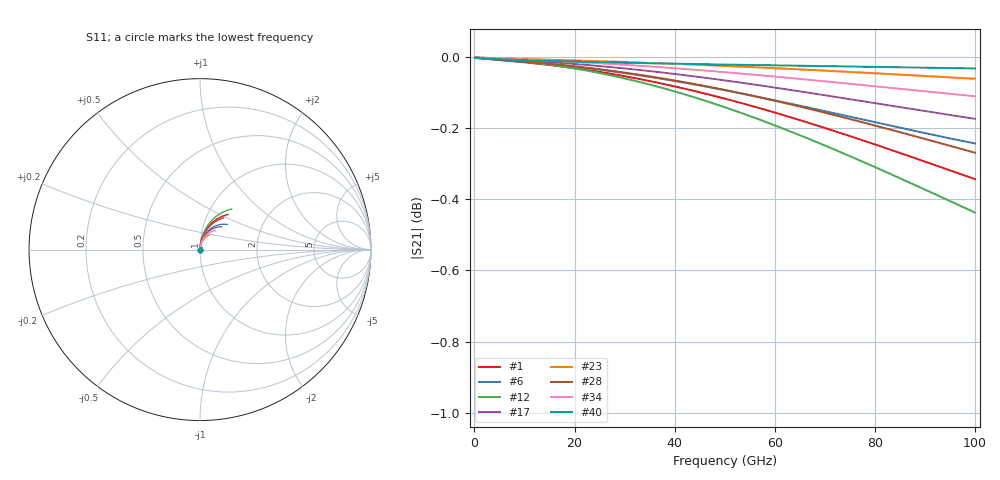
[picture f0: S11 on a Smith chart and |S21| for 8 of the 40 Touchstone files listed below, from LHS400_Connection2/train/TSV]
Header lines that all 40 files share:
! Touchstone file exported from HFSS 2026.1.0
!  Design:  TSV
! Variables:
! Terminal data exported
# GHz S MA R 50.000000
Fixed: h_bsmrdl = 2um, h_ox = 20um, h_rdl = 5um, h_tmrdl = 5um, h_via = 3um, l_bsmrdl = 300um, l_tmrdl = 200um, m_sub = 200um, s_tmrdl = 10um, w_bsmrdl = 18um, w_sub = 500um, w_tmrdl = 12um, x_tsv_center1 = 206um, x_tsv_center2 = 524um, x_tsv_center3 = 736um, x_tsv_center4 = 1054um, x_tsv_center5 = 1266um, x_tsv_center6 = 1584um
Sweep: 100 MHz to 100 GHz
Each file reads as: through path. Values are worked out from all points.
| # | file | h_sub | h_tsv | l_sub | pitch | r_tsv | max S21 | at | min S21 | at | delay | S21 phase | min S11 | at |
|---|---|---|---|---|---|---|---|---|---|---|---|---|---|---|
| 1 | dut0.s2p | 67.39um | 67.39um | 410.62um | 42.1um | 5.31um | 0.00 dB | 100 MHz | -0.3 dB | 100 GHz | 1.06 ps | -19 deg at 50.1 GHz | -66.8 dB | 100 MHz |
| 2 | dut1.s2p | 64.13um | 64.13um | 420.66um | 59.73um | 10.33um | 0.00 dB | 100 MHz | -0.1 dB | 100 GHz | 1.02 ps | -19 deg at 50.1 GHz | -72.0 dB | 100 MHz |
| 3 | dut2.s2p | 87.47um | 87.47um | 420.5um | 55.39um | 10.25um | 0.00 dB | 100 MHz | -0.1 dB | 100 GHz | 1.27 ps | -23 deg at 50.1 GHz | -71.4 dB | 100 MHz |
| 4 | dut3.s2p | 80.66um | 80.66um | 414.28um | 48.7um | 7.14um | 0.00 dB | 100 MHz | -0.3 dB | 100 GHz | 1.21 ps | -22 deg at 50.1 GHz | -68.0 dB | 100 MHz |
| 5 | dut4.s2p | 87.71um | 87.71um | 428.16um | 41.63um | 14.08um | 0.00 dB | 100 MHz | -0.3 dB | 100 GHz | 1.22 ps | -22 deg at 50.1 GHz | -72.6 dB | 100 MHz |
| 6 | dut5.s2p | 89.98um | 89.98um | 415.1um | 47.59um | 7.55um | 0.00 dB | 100 MHz | -0.2 dB | 100 GHz | 1.3 ps | -24 deg at 50.1 GHz | -68.4 dB | 100 MHz |
| 7 | dut6.s2p | 90.75um | 90.75um | 420.16um | 44.86um | 10.08um | 0.00 dB | 100 MHz | 0.0 dB | 100 GHz | 1.24 ps | -22 deg at 50.1 GHz | -75.0 dB | 100 MHz |
| 8 | dut7.s2p | 80.06um | 80.06um | 413.3um | 54.77um | 6.65um | 0.00 dB | 100 MHz | -0.5 dB | 100 GHz | 1.27 ps | -24 deg at 50.1 GHz | -66.1 dB | 100 MHz |
| 9 | dut8.s2p | 69.44um | 69.44um | 413.04um | 55um | 6.52um | 0.00 dB | 100 MHz | -0.5 dB | 100 GHz | 1.15 ps | -21 deg at 50.1 GHz | -66.7 dB | 100 MHz |
| 10 | dut9.s2p | 56.34um | 56.34um | 420.12um | 48.99um | 10.06um | 0.00 dB | 100 MHz | 0.0 dB | 100 GHz | 860 fs | -16 deg at 50.1 GHz | -75.9 dB | 100 MHz |
| 11 | dut10.s2p | 72.22um | 72.22um | 419.02um | 46.16um | 9.51um | 0.00 dB | 100 MHz | -0.1 dB | 100 GHz | 1.04 ps | -19 deg at 50.1 GHz | -74.3 dB | 100 MHz |
| 12 | dut11.s2p | 58.74um | 58.74um | 413.58um | 58.93um | 6.79um | 0.00 dB | 100 MHz | -0.4 dB | 100 GHz | 1.05 ps | -19 deg at 50.1 GHz | -67.5 dB | 100 MHz |
| 13 | dut12.s2p | 54.49um | 54.49um | 422.6um | 53.84um | 11.3um | 0.00 dB | 100 MHz | 0.0 dB | 100 GHz | 849 fs | -15 deg at 50.1 GHz | -76.9 dB | 100 MHz |
| 14 | dut13.s2p | 82.63um | 82.63um | 419.8um | 43.33um | 9.9um | 0.00 dB | 100 MHz | 0.0 dB | 100 GHz | 1.14 ps | -21 deg at 50.1 GHz | -75.8 dB | 100 MHz |
| 15 | dut14.s2p | 67.66um | 67.66um | 420.32um | 55.19um | 10.16um | 0.00 dB | 100 MHz | -0.1 dB | 100 GHz | 1.04 ps | -19 deg at 50.1 GHz | -72.8 dB | 100 MHz |
| 16 | dut15.s2p | 66.23um | 66.23um | 414.92um | 43.27um | 7.46um | 0.00 dB | 100 MHz | -0.1 dB | 100 GHz | 986 fs | -18 deg at 50.1 GHz | -71.2 dB | 100 MHz |
| 17 | dut16.s2p | 78.92um | 78.92um | 419.06um | 55.61um | 9.53um | 0.00 dB | 100 MHz | -0.2 dB | 100 GHz | 1.18 ps | -22 deg at 50.1 GHz | -70.7 dB | 100 MHz |
| 18 | dut17.s2p | 69.65um | 69.65um | 414.22um | 57.21um | 7.11um | 0.00 dB | 100 MHz | -0.4 dB | 100 GHz | 1.15 ps | -21 deg at 50.1 GHz | -67.2 dB | 100 MHz |
| 19 | dut18.s2p | 72.76um | 72.76um | 414.4um | 59.18um | 7.2um | 0.00 dB | 100 MHz | -0.5 dB | 100 GHz | 1.2 ps | -22 deg at 50.1 GHz | -66.8 dB | 100 MHz |
| 20 | dut19.s2p | 91.94um | 91.94um | 421.6um | 44.6um | 10.8um | 0.00 dB | 100 MHz | 0.0 dB | 100 GHz | 1.25 ps | -23 deg at 50.1 GHz | -77.0 dB | 100 MHz |
| 21 | dut20.s2p | 60.13um | 60.13um | 411.78um | 49.2um | 5.89um | 0.00 dB | 100 MHz | -0.4 dB | 100 GHz | 1.01 ps | -19 deg at 50.1 GHz | -67.5 dB | 100 MHz |
| 22 | dut21.s2p | 81.93um | 81.93um | 423.22um | 59.26um | 11.61um | 0.00 dB | 100 MHz | -0.1 dB | 100 GHz | 1.21 ps | -22 deg at 50.1 GHz | -73.0 dB | 100 MHz |
| 23 | dut22.s2p | 53.6um | 53.6um | 422.28um | 56.16um | 11.14um | 0.00 dB | 100 MHz | -0.1 dB | 100 GHz | 854 fs | -15 deg at 50.1 GHz | -75.7 dB | 100 MHz |
| 24 | dut23.s2p | 74.99um | 74.99um | 415.3um | 42.37um | 7.65um | 0.00 dB | 100 MHz | -0.1 dB | 100 GHz | 1.08 ps | -20 deg at 50.1 GHz | -71.1 dB | 100 MHz |
| 25 | dut24.s2p | 61.95um | 61.95um | 427.52um | 41.27um | 13.76um | 0.00 dB | 100 MHz | -0.2 dB | 100 GHz | 901 fs | -16 deg at 50.1 GHz | -75.8 dB | 100 MHz |
| 26 | dut25.s2p | 93.01um | 93.01um | 411.46um | 40.36um | 5.73um | 0.00 dB | 100 MHz | -0.3 dB | 100 GHz | 1.32 ps | -24 deg at 50.1 GHz | -65.8 dB | 100 MHz |
| 27 | dut26.s2p | 95.31um | 95.31um | 416.52um | 50.17um | 8.26um | 0.00 dB | 100 MHz | -0.2 dB | 100 GHz | 1.36 ps | -25 deg at 50.1 GHz | -68.7 dB | 100 MHz |
| 28 | dut27.s2p | 64.27um | 64.27um | 411.22um | 41.18um | 5.61um | 0.00 dB | 100 MHz | -0.3 dB | 100 GHz | 999 fs | -18 deg at 50.1 GHz | -67.9 dB | 100 MHz |
| 29 | dut28.s2p | 60.39um | 60.39um | 425.28um | 57.43um | 12.64um | 0.00 dB | 100 MHz | 0.0 dB | 100 GHz | 925 fs | -17 deg at 50.1 GHz | -77.8 dB | 100 MHz |
| 30 | dut29.s2p | 94.33um | 94.33um | 416.62um | 50.23um | 8.31um | 0.00 dB | 100 MHz | -0.2 dB | 100 GHz | 1.35 ps | -25 deg at 50.1 GHz | -68.9 dB | 100 MHz |
| 31 | dut30.s2p | 88.95um | 88.95um | 423.4um | 44.73um | 11.7um | 0.00 dB | 100 MHz | 0.0 dB | 100 GHz | 1.21 ps | -22 deg at 50.1 GHz | -79.2 dB | 100 MHz |
| 32 | dut31.s2p | 52.21um | 52.21um | 427.86um | 43.19um | 13.93um | 0.00 dB | 100 MHz | -0.1 dB | 100 GHz | 778 fs | -14 deg at 50.1 GHz | -78.3 dB | 100 MHz |
| 33 | dut32.s2p | 86.57um | 86.57um | 417.22um | 54.92um | 8.61um | 0.00 dB | 100 MHz | -0.3 dB | 100 GHz | 1.29 ps | -24 deg at 50.1 GHz | -68.7 dB | 100 MHz |
| 34 | dut33.s2p | 68.68um | 68.68um | 421.72um | 58.57um | 10.86um | 0.00 dB | 100 MHz | -0.1 dB | 100 GHz | 1.06 ps | -19 deg at 50.1 GHz | -72.9 dB | 100 MHz |
| 35 | dut34.s2p | 93.15um | 93.15um | 410.36um | 45.81um | 5.18um | 0.00 dB | 100 MHz | -0.6 dB | 100 GHz | 1.39 ps | -26 deg at 50.1 GHz | -63.8 dB | 100 MHz |
| 36 | dut35.s2p | 50.67um | 50.67um | 422.92um | 49.63um | 11.46um | 0.00 dB | 100 MHz | 0.0 dB | 100 GHz | 777 fs | -14 deg at 50.1 GHz | -79.8 dB | 100 MHz |
| 37 | dut36.s2p | 63.41um | 63.41um | 429.44um | 44.8um | 14.72um | 0.00 dB | 100 MHz | -0.2 dB | 100 GHz | 924 fs | -17 deg at 50.1 GHz | -76.2 dB | 100 MHz |
| 38 | dut37.s2p | 83.07um | 83.07um | 420.78um | 59.33um | 10.39um | 0.00 dB | 100 MHz | -0.2 dB | 100 GHz | 1.24 ps | -23 deg at 50.1 GHz | -70.7 dB | 100 MHz |
| 39 | dut38.s2p | 70.54um | 70.54um | 424.9um | 46.38um | 12.45um | 0.00 dB | 100 MHz | 0.0 dB | 100 GHz | 998 fs | -18 deg at 50.1 GHz | -81.4 dB | 100 MHz |
| 40 | dut39.s2p | 96.49um | 96.49um | 421.04um | 44.79um | 10.52um | 0.00 dB | 100 MHz | 0.0 dB | 100 GHz | 1.31 ps | -24 deg at 50.1 GHz | -75.9 dB | 100 MHz |
